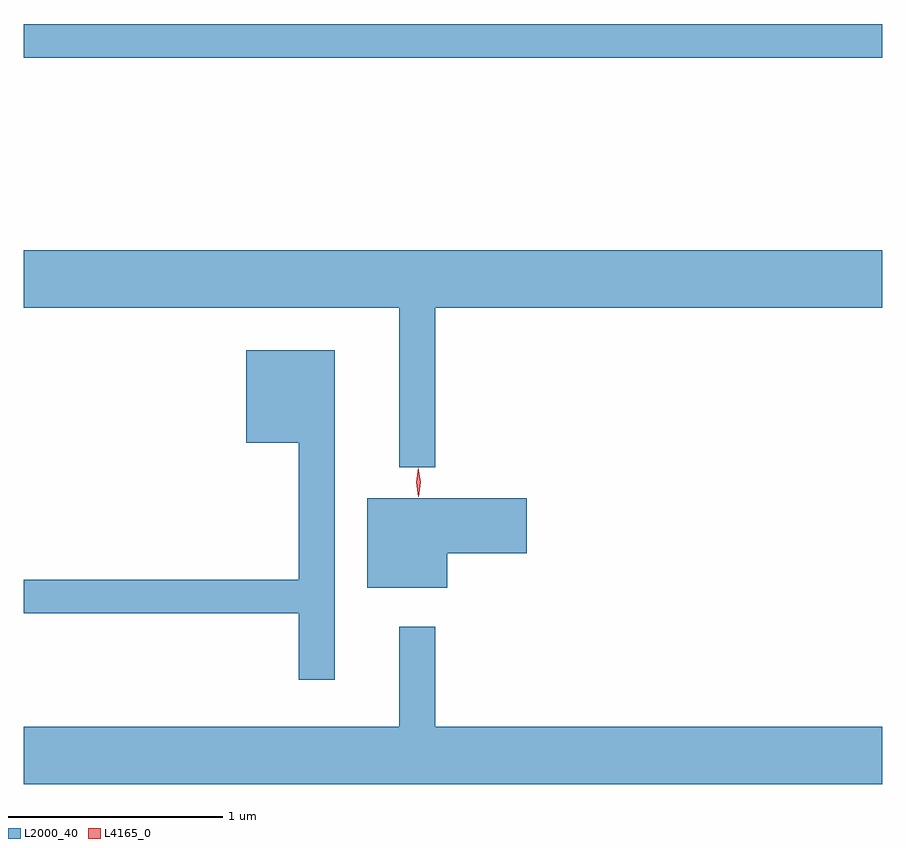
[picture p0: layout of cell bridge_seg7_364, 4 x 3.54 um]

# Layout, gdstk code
import gdstk
lib = gdstk.Library(unit=1e-6, precision=1e-09)
def R(c, l, rs):  # rectangles x0, y0, x1, y1
    for r in rs: c.add(gdstk.rectangle(r[:2], r[2:], *l))
def P(c, l, *ps):  # polygons
    for p in ps: c.add(gdstk.Polygon(p, *l))
L2000_40 = (2000, 40)
L4165_0 = (4165, 0)

bridge_seg7_364 = lib.new_cell('bridge_seg7_364')
R(bridge_seg7_364, L2000_40, [(1084.501,1751.001,1088.501,1751.159)])
P(bridge_seg7_364, L2000_40, [(1084.501,1749.836),(1086.251,1749.836),(1086.251,1749.093),(1086.419,1749.093),(1086.419,1749.836),(1088.501,1749.836),(1088.501,1750.104),(1084.501,1750.104)],
  [(1085.949,1749.639),(1085.536,1749.639),(1085.536,1749.206),(1085.781,1749.206),(1085.781,1748.569),(1084.501,1748.569),(1084.501,1748.411),(1085.781,1748.411),(1085.781,1748.103),(1085.949,1748.103)],
  [(1086.474,1748.691),(1086.844,1748.691),(1086.844,1748.949),(1086.101,1748.949),(1086.101,1748.531),(1086.474,1748.531)],
  [(1088.501,1747.884),(1086.419,1747.884),(1086.419,1748.348),(1086.251,1748.348),(1086.251,1747.884),(1084.501,1747.884),(1084.501,1747.616),(1088.501,1747.616)])
P(bridge_seg7_364, L4165_0, [(1086.341,1748.96),(1086.34,1748.961),(1086.33,1749.023),(1086.339,1749.086),(1086.34,1749.087),(1086.34,1749.086),(1086.35,1749.024),(1086.341,1748.961)],
  [(1086.34,1748.954),(1086.34,1748.954),(1086.33,1749.022),(1086.339,1749.09),(1086.34,1749.09),(1086.34,1749.09),(1086.35,1749.022),(1086.341,1748.954)])

lib.write_gds('bridge_seg7_364.gds')
